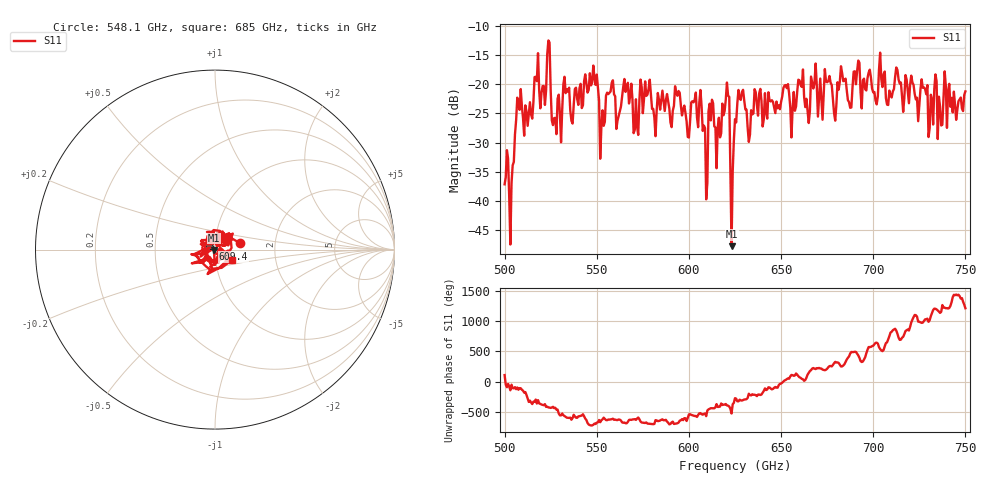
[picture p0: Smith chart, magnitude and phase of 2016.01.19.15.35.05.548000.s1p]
!Created with skrf (http://scikit-rf.org).
# GHz S RI R 50.0
!freq ReS11 ImS11
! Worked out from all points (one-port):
!   401 points, 500 GHz to 750 GHz, reference 50 ohm
!   lowest |S11| = -47.7 dB at 623.1 GHz (marker M1), VSWR 1.01, Z = 49.6 - j0.139 ohm
!   |S11| at or under -10 dB: start of sweep to end of sweep
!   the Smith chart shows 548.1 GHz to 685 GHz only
!   S11 on the Smith chart (normalised r, x): 548.1 GHz: 1.32, +0.10; 609.4 GHz: 0.98, +0.01; 685 GHz: 1.20, -0.14
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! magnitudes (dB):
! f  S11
! 500 GHz  -37.1
! 503.8 GHz  -37.0
! 507.5 GHz  -23.5
! 513.8 GHz  -23.1
! 517.5 GHz  -19.5
! 526.9 GHz  -25.8
! 531.2 GHz  -24.4
! 548.1 GHz  -16.8
! 553.1 GHz  -24.5
! 557.5 GHz  -21.3
! 562.5 GHz  -24.6
! 593.8 GHz  -22.0
! 606.9 GHz  -23.8
! 609.4 GHz  -39.7
! 611.9 GHz  -26.2
! 616.2 GHz  -25.8
! 620.6 GHz  -19.7
! 623.1 GHz  -47.7
! 625 GHz  -26.0
! 628.1 GHz  -22.7
! 633.1 GHz  -28.6
! 652.5 GHz  -20.2
! 656.2 GHz  -24.2
! 685 GHz  -19.1
! 687.5 GHz  -24.1
! 691.2 GHz  -17.8
! 718.8 GHz  -21.3
! 750 GHz  -21.2
